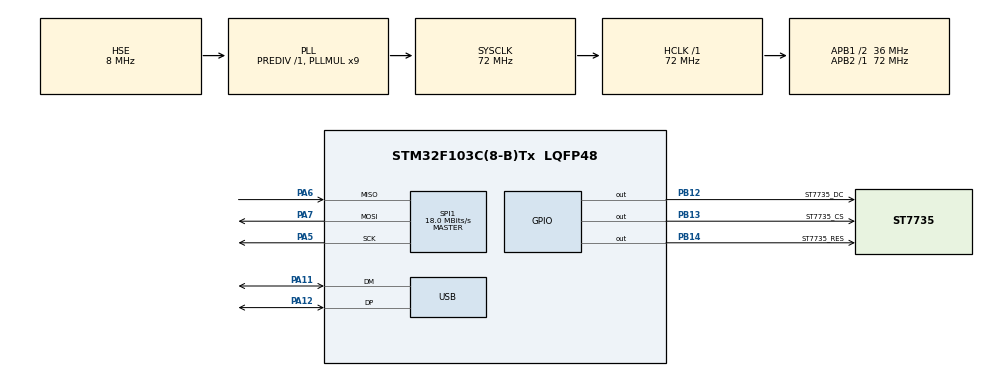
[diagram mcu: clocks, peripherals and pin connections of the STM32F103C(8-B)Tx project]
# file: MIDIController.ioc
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Mcu.Family=STM32F1
Mcu.Name=STM32F103C(8-B)Tx
Mcu.Package=LQFP48
NVIC.PriorityGroup=NVIC_PRIORITYGROUP_4
NVIC.USB_LP_CAN1_RX0_IRQn=true\:0\:0\:false\:false\:true\:false\:true\:true
PA11.Mode=Device
PA11.Signal=USB_DM
PA12.Mode=Device
PA12.Signal=USB_DP
PA13.Mode=Serial_Wire
PA13.Signal=SYS_JTMS-SWDIO
PA14.Mode=Serial_Wire
PA14.Signal=SYS_JTCK-SWCLK
PA5.Mode=Full_Duplex_Master
PA5.Signal=SPI1_SCK
PA6.Mode=Full_Duplex_Master
PA6.Signal=SPI1_MISO
PA7.Mode=Full_Duplex_Master
PA7.Signal=SPI1_MOSI
PB12.GPIO_Label=ST7735_DC
PB12.Signal=GPIO_Output
PB13.GPIO_Label=ST7735_CS
PB13.Signal=GPIO_Output
PB14.GPIO_Label=ST7735_RES
PB14.Signal=GPIO_Output
PD0-OSC_IN.Mode=HSE-External-Oscillator
PD0-OSC_IN.Signal=RCC_OSC_IN
PD1-OSC_OUT.Mode=HSE-External-Oscillator
PD1-OSC_OUT.Signal=RCC_OSC_OUT
ProjectManager.HeapSize=0x200
ProjectManager.StackSize=0x400
ProjectManager.TargetToolchain=STM32CubeIDE
RCC.AHBFreq_Value=72000000
RCC.APB1CLKDivider=RCC_HCLK_DIV2
RCC.APB1Freq_Value=36000000
RCC.APB1TimFreq_Value=72000000
RCC.APB2Freq_Value=72000000
RCC.APB2TimFreq_Value=72000000
RCC.HCLKFreq_Value=72000000
RCC.PLLMUL=RCC_PLL_MUL9
RCC.SYSCLKFreq_VALUE=72000000
RCC.SYSCLKSource=RCC_SYSCLKSOURCE_PLLCLK
RCC.USBFreq_Value=48000000
RCC.USBPrescaler=RCC_USBCLKSOURCE_PLL_DIV1_5
SPI1.BaudRatePrescaler=SPI_BAUDRATEPRESCALER_4
SPI1.CalculateBaudRate=18.0 MBits/s
SPI1.Direction=SPI_DIRECTION_2LINES
SPI1.Mode=SPI_MODE_MASTER
SPI1.VirtualType=VM_MASTER
USB_DEVICE.CLASS_NAME_FS=HID
USB_DEVICE.VirtualMode=Hid
USB_DEVICE.VirtualModeFS=Hid_FS
VP_USB_DEVICE_VS_USB_DEVICE_HID_FS.Mode=HID_FS
board=custom

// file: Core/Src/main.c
/* USER CODE BEGIN Header */
/**
 ******************************************************************************
 * @file           : main.c
 * @brief          : Main program body
 ******************************************************************************
 * @attention
 *
 * Copyright (c) 2024 STMicroelectronics.
 * All rights reserved.
 *
 * This software is licensed under terms that can be found in the LICENSE file
 * in the root directory of this software component.
 * If no LICENSE file comes with this software, it is provided AS-IS.
 *
 ******************************************************************************
 * References:
 * Simple STM32 MIDI: https://www.youtube.com/watch?v=C6jAYpNR1-E
 * Device Class Definition: https://www.usb.org/sites/default/files/midi10.pdf
 * MIDI MSG List: https://midi.org/expanded-midi-1-0-messages-list
 * SpareFaders Project: https://github.com/essigt/SpareFaders
 * ST7735 Library: https://github.com/afiskon/stm32-st7735/tree/master
 */
/* USER CODE END Header */
#include "main.h"
#include "usb_device.h"

/* USER CODE BEGIN Includes */

#include "fonts.h"
#include "st7735.h"

/* USER CODE END Includes */

/* USER CODE BEGIN PTD */

typedef enum {
  ASCENDING, DESCENDING, BOTH, NONE
} EDGE_MODE_Typedef;

typedef struct {
  GPIO_TypeDef *GPIOx;
  uint16_t pinNumber;
  GPIO_PinState state;
  uint32_t lastTime;
  uint32_t debounceTime;
  EDGE_MODE_Typedef mode;
} DEBOUNCE_Typedef;

/* USER CODE END PTD */

SPI_HandleTypeDef hspi1;

/* USER CODE BEGIN PV */
GPIO_PinState DebouncePin(DEBOUNCE_Typedef *pin);
/* USER CODE END PV */

void SystemClock_Config(void);
static void MX_GPIO_Init(void);
static void MX_SPI1_Init(void);

int main(void)
{

  /* MCU Configuration--------------------------------------------------------*/

  /* Reset of all peripherals, Initializes the Flash interface and the Systick. */
  HAL_Init();

  /* Configure the system clock */
  SystemClock_Config();

  /* Initialize all configured peripherals */
  MX_GPIO_Init();
  MX_USB_DEVICE_Init();
  MX_SPI1_Init();

  /* Infinite loop */
  while (1) {

  }
}

void SystemClock_Config(void)
{
  RCC_OscInitTypeDef RCC_OscInitStruct = {0};
  RCC_ClkInitTypeDef RCC_ClkInitStruct = {0};
  RCC_PeriphCLKInitTypeDef PeriphClkInit = {0};

  /** Initializes the RCC Oscillators according to the specified parameters
  * in the RCC_OscInitTypeDef structure.
  */
  RCC_OscInitStruct.OscillatorType = RCC_OSCILLATORTYPE_HSE;
  RCC_OscInitStruct.HSEState = RCC_HSE_ON;
  RCC_OscInitStruct.HSEPredivValue = RCC_HSE_PREDIV_DIV1;
  RCC_OscInitStruct.HSIState = RCC_HSI_ON;
  RCC_OscInitStruct.PLL.PLLState = RCC_PLL_ON;
  RCC_OscInitStruct.PLL.PLLSource = RCC_PLLSOURCE_HSE;
  RCC_OscInitStruct.PLL.PLLMUL = RCC_PLL_MUL9;
  if (HAL_RCC_OscConfig(&RCC_OscInitStruct) != HAL_OK)
  {
    Error_Handler();
  }

  /** Initializes the CPU, AHB and APB buses clocks
  */
  RCC_ClkInitStruct.ClockType = RCC_CLOCKTYPE_HCLK|RCC_CLOCKTYPE_SYSCLK
                              |RCC_CLOCKTYPE_PCLK1|RCC_CLOCKTYPE_PCLK2;
  RCC_ClkInitStruct.SYSCLKSource = RCC_SYSCLKSOURCE_PLLCLK;
  RCC_ClkInitStruct.AHBCLKDivider = RCC_SYSCLK_DIV1;
  RCC_ClkInitStruct.APB1CLKDivider = RCC_HCLK_DIV2;
  RCC_ClkInitStruct.APB2CLKDivider = RCC_HCLK_DIV1;

  if (HAL_RCC_ClockConfig(&RCC_ClkInitStruct, FLASH_LATENCY_2) != HAL_OK)
  {
    Error_Handler();
  }
  PeriphClkInit.PeriphClockSelection = RCC_PERIPHCLK_USB;
  PeriphClkInit.UsbClockSelection = RCC_USBCLKSOURCE_PLL_DIV1_5;
  if (HAL_RCCEx_PeriphCLKConfig(&PeriphClkInit) != HAL_OK)
  {
    Error_Handler();
  }
}

static void MX_SPI1_Init(void)
{

  /* SPI1 parameter configuration*/
  hspi1.Instance = SPI1;
  hspi1.Init.Mode = SPI_MODE_MASTER;
  hspi1.Init.Direction = SPI_DIRECTION_2LINES;
  hspi1.Init.DataSize = SPI_DATASIZE_8BIT;
  hspi1.Init.CLKPolarity = SPI_POLARITY_LOW;
  hspi1.Init.CLKPhase = SPI_PHASE_1EDGE;
  hspi1.Init.NSS = SPI_NSS_SOFT;
  hspi1.Init.BaudRatePrescaler = SPI_BAUDRATEPRESCALER_4;
  hspi1.Init.FirstBit = SPI_FIRSTBIT_MSB;
  hspi1.Init.TIMode = SPI_TIMODE_DISABLE;
  hspi1.Init.CRCCalculation = SPI_CRCCALCULATION_DISABLE;
  hspi1.Init.CRCPolynomial = 10;
  if (HAL_SPI_Init(&hspi1) != HAL_OK)
  {
    Error_Handler();
  }

}

static void MX_GPIO_Init(void)
{
  GPIO_InitTypeDef GPIO_InitStruct = {0};

  /* GPIO Ports Clock Enable */
  __HAL_RCC_GPIOD_CLK_ENABLE();
  __HAL_RCC_GPIOA_CLK_ENABLE();
  __HAL_RCC_GPIOB_CLK_ENABLE();

  /*Configure GPIO pin Output Level */
  HAL_GPIO_WritePin(GPIOB, ST7735_DC_Pin|ST7735_CS_Pin|ST7735_RES_Pin, GPIO_PIN_RESET);

  /*Configure GPIO pins : ST7735_DC_Pin ST7735_CS_Pin ST7735_RES_Pin */
  GPIO_InitStruct.Pin = ST7735_DC_Pin|ST7735_CS_Pin|ST7735_RES_Pin;
  GPIO_InitStruct.Mode = GPIO_MODE_OUTPUT_PP;
  GPIO_InitStruct.Pull = GPIO_NOPULL;
  GPIO_InitStruct.Speed = GPIO_SPEED_FREQ_LOW;
  HAL_GPIO_Init(GPIOB, &GPIO_InitStruct);

}

/* USER CODE BEGIN 4 */

GPIO_PinState DebouncePin(DEBOUNCE_Typedef *pin) {
  uint32_t currentTime = HAL_GetTick();
  GPIO_PinState currentState = HAL_GPIO_ReadPin(pin->GPIOx, pin->pinNumber);

  if (currentState != pin->state) {
    pin->lastTime = currentTime;
  }

  GPIO_PinState returnState = pin->state;
  if ((currentTime - pin->lastTime) > pin->debounceTime) {
    if (pin->mode == NONE) {
      returnState = currentState;
    } else if (pin->mode == ASCENDING) {
      returnState = (!pin->state && currentState) ? GPIO_PIN_SET : GPIO_PIN_RESET;
    } else if (pin->mode == DESCENDING) {
      returnState = (pin->state && !currentState) ? GPIO_PIN_SET : GPIO_PIN_RESET;
    } else if (pin->mode == BOTH) {
      returnState = (pin->state != currentState) ? GPIO_PIN_SET : GPIO_PIN_RESET;
    }

    pin->state = currentState;
  }

  return returnState;
}

/* USER CODE END 4 */

void Error_Handler(void)
{
  __disable_irq();
  while (1) {
  }
}
